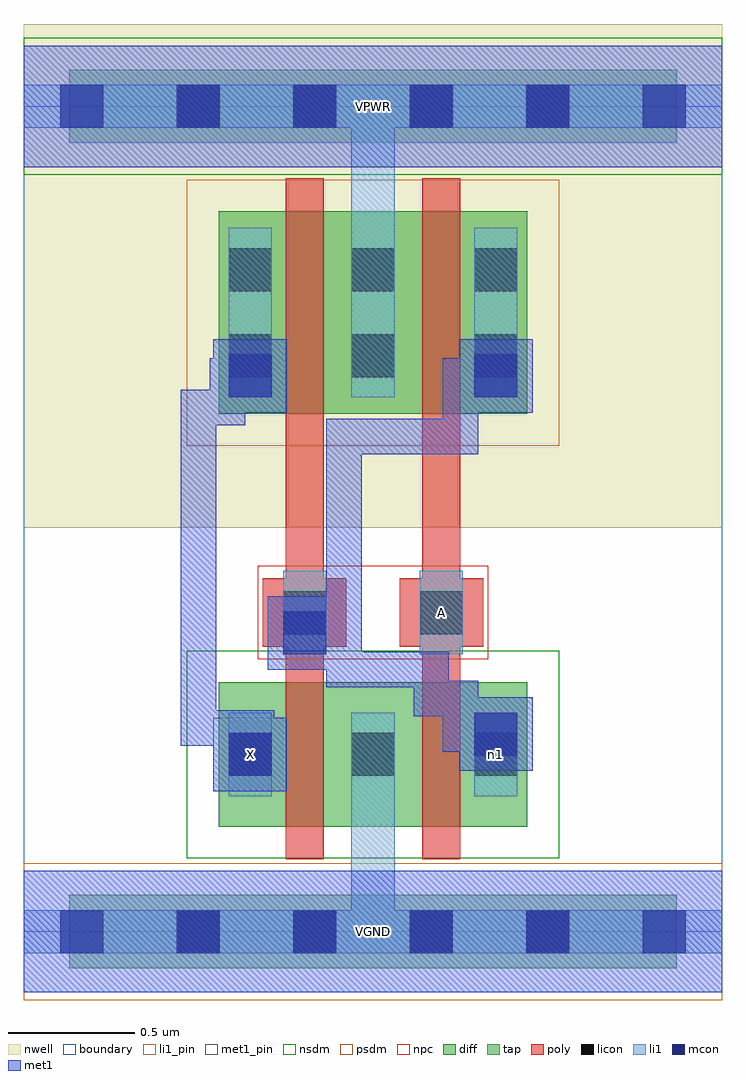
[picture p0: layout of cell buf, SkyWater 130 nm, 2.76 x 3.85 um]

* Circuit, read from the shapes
.subckt buf A VGND VPWR X n1
XM1 VGND n1 X VGND sky130_fd_pr__nfet_01v8 w=0.57 l=0.15
XM2 n1 A VGND VGND sky130_fd_pr__nfet_01v8 w=0.57 l=0.15
XM3 VPWR n1 X VPWR sky130_fd_pr__pfet_01v8 w=0.8 l=0.15
XM4 n1 A VPWR VPWR sky130_fd_pr__pfet_01v8 w=0.8 l=0.15
.ends

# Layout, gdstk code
import gdstk
lib = gdstk.Library(unit=1e-6, precision=1e-09)
def R(c, l, rs):  # rectangles x0, y0, x1, y1
    for r in rs: c.add(gdstk.rectangle(r[:2], r[2:], *l))
def A(c, l, x, y, w, h, nx, ny, dx, dy):  # array of equal rectangles
    R(c, l, [(x+i*dx, y+j*dy, x+i*dx+w, y+j*dy+h) for i in range(nx) for j in range(ny)])
nwell = (64, 20)
diff = (65, 20)
tap = (65, 44)
poly = (66, 20)
licon = (66, 44)
li1_pin = (67, 16)
li1 = (67, 20)
mcon = (67, 44)
met1_pin = (68, 16)
met1 = (68, 20)
nsdm = (93, 44)
psdm = (94, 20)
npc = (95, 20)
boundary = (235, 4)

buf = lib.new_cell('buf')
R(buf, nwell, [(0,1.595,2.76,3.585)])
R(buf, diff, [(0.77,0.415,1.99,0.985), (0.77,2.045,1.99,2.845)])
R(buf, tap, [(0.18,-0.145,2.58,0.145), (0.18,3.115,2.58,3.405)])
R(buf, poly, [(1.035,0.285,1.185,2.975), (1.575,0.285,1.725,2.975), (0.945,1.125,1.275,1.395), (1.485,1.125,1.815,1.395)])
A(buf, licon, 0.605, -0.085, 0.17, 0.17, 4, 2, 0.46, 3.26)
A(buf, licon, 0.81, 0.615, 0.17, 0.17, 3, 2, 0.485, 1.575)
A(buf, licon, 0.81, 2.53, 0.17, 0.17, 3, 1, 0.485, 0)
R(buf, licon, [(1.025,1.175,1.195,1.345), (1.565,1.175,1.735,1.345)])
R(buf, li1_pin, [(1.565,1.095,1.735,1.425)])
A(buf, li1, 0.81, 0.535, 0.17, 0.33, 3, 1, 0.485, 0)
A(buf, li1, 0.81, 2.11, 0.17, 0.67, 3, 1, 0.485, 0)
R(buf, li1, [(0,-0.085,2.76,0.085), (1.295,-0.085,1.465,0.865), (1.025,1.095,1.195,1.425), (1.565,1.095,1.735,1.425), (1.295,2.11,1.465,3.345), (0,3.175,2.76,3.345)])
A(buf, mcon, 0.145, -0.085, 0.17, 0.17, 6, 2, 0.46, 3.26)
R(buf, mcon, [(0.81,0.615,0.98,0.785), (1.78,0.695,1.95,0.865), (1.025,1.095,1.195,1.265), (0.81,2.11,0.98,2.28), (1.78,2.11,1.95,2.28)])
R(buf, met1_pin, [(0,-0.24,2.76,0.24), (0.75,0.555,1.04,0.845), (0,3.02,2.76,3.5)])
R(buf, met1, [(0,-0.24,2.76,0.24), (0.75,0.555,1.04,0.845), (0.85,0.62,0.99,0.875), (0.85,0.62,0.99,0.76), (1.72,0.635,2.01,0.925), (1.655,0.71,1.935,0.85), (1.655,0.71,1.795,0.99), (0.62,0.735,0.99,0.875), (0.62,0.735,0.76,2.14), (1.54,0.85,1.795,0.99), (1.54,0.85,1.68,1.105), (1.195,0.965,1.335,1.25), (1.195,0.965,1.68,1.105), (1.195,0.965,1.335,2.025), (0.965,1.035,1.255,1.325), (1.04,1.11,1.335,1.25), (1.195,1.885,1.795,2.025), (1.655,1.885,1.795,2.14), (0.62,2,0.875,2.14), (0.735,2,0.875,2.265), (1.655,2,1.795,2.265), (0.75,2.05,1.04,2.34), (1.72,2.05,2.01,2.34), (0.735,2.125,0.965,2.265), (1.655,2.125,1.935,2.265), (0,3.02,2.76,3.5)])
R(buf, nsdm, [(0.645,0.29,2.115,1.11), (0,2.99,2.76,3.53)])
R(buf, psdm, [(0,-0.27,2.76,0.27), (0.645,1.92,2.115,2.97)])
R(buf, npc, [(0.925,1.075,1.835,1.445)])
R(buf, boundary, [(0,0,2.76,3.26)])
buf.add(gdstk.Label('A', (1.65,1.26), layer=67, texttype=5))
buf.add(gdstk.Label('n1', (1.865,0.7), layer=67, texttype=5))
buf.add(gdstk.Label('X', (0.895,0.7), layer=68, texttype=5))
buf.add(gdstk.Label('VPWR', (1.38,3.26), layer=68, texttype=5))
buf.add(gdstk.Label('VGND', (1.38,0), layer=68, texttype=5))
buf.add(gdstk.Label('A', (1.65,1.26), layer=67, texttype=16))
buf.add(gdstk.Label('X', (0.895,0.7), layer=68, texttype=16))
buf.add(gdstk.Label('VPWR', (1.38,3.26), layer=68, texttype=16))
buf.add(gdstk.Label('VGND', (1.38,0), layer=68, texttype=16))

lib.write_gds('buf.gds')
